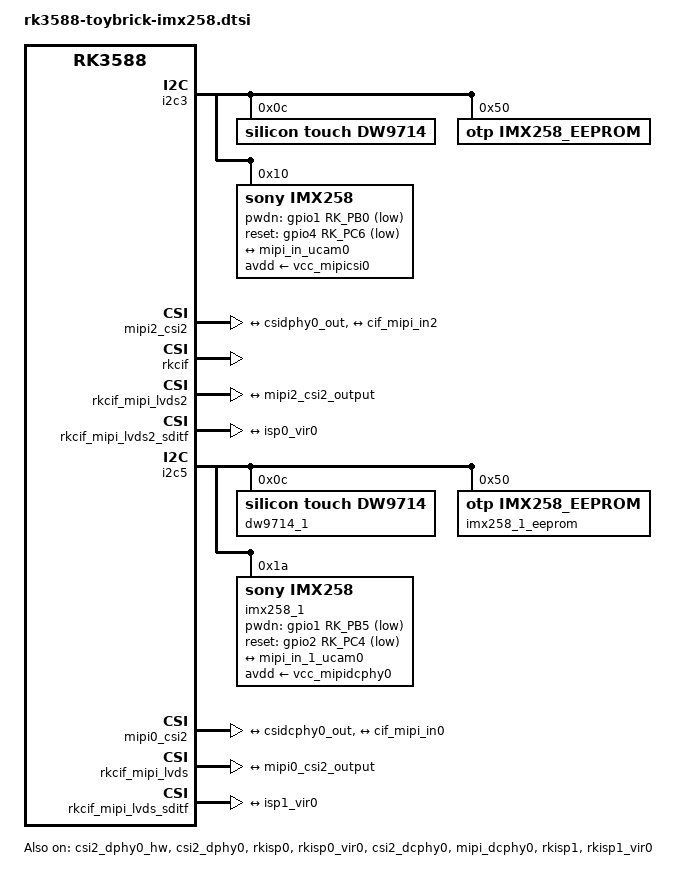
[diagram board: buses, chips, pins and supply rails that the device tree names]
// SPDX-License-Identifier: (GPL-2.0+ OR MIT)
/*
 * Copyright (c) 2021 Rockchip Electronics Co., Ltd.
 *
 */
&csi2_dphy0_hw {
	status = "okay";
};

&csi2_dphy0 {
	status = "okay";
	ports {
		#address-cells = <1>;
		#size-cells = <0>;
		port@0 {
			reg = <0>;
			#address-cells = <1>;
			#size-cells = <0>;
			mipi_in_ucam0: endpoint@1 {
				reg = <1>;
				remote-endpoint = <&ucam_out0>;
				data-lanes = <1 2 3 4>;
			};
		};
		port@1 {
			reg = <1>;
			#address-cells = <1>;
			#size-cells = <0>;
			csidphy0_out: endpoint@0 {
				reg = <0>;
				remote-endpoint = <&mipi2_csi2_input>;
			};
		};
	};
};

&i2c3 {
	status = "okay";
	dw9714: dw9714@c {
		compatible = "silicon touch,dw9714";
		status = "okay";
		reg = <0x0c>;
		rockchip,camera-module-index = <0>;
		rockchip,camera-module-facing = "back";
		rockchip,vcm-start-current = <20>;
		rockchip,vcm-rated-current = <120>;
		rockchip,vcm-step-mode = <13>;
	};

	imx258_eeprom: imx258_eeprom@50 {
		compatible = "otp,imx258_eeprom";
		status = "okay";
		reg = <0x50>;
	};

	imx258: imx258@10 {
		compatible = "sony,imx258";
		reg = <0x10>;
		clocks = <&cru CLK_MIPI_CAMARAOUT_M3>;
		clock-names = "xvclk";
		pinctrl-names = "default";
		pinctrl-0 = <&mipim0_camera3_clk>;
		power-domains = <&power RK3588_PD_VI>;
		avdd-supply = <&vcc_mipicsi0>;
		pwdn-gpios = <&gpio1 RK_PB0 GPIO_ACTIVE_LOW>;
		reset-gpios = <&gpio4 RK_PC6 GPIO_ACTIVE_LOW>;
		rockchip,camera-module-index = <0>;
		rockchip,camera-module-facing = "back";
		rockchip,camera-module-name = "GEIR180089";
		rockchip,camera-module-lens-name = "LG500627G";
		eeprom-ctrl = <&imx258_eeprom>;
		lens-focus = <&dw9714>;
		port {
			ucam_out0: endpoint {
				remote-endpoint = <&mipi_in_ucam0>;
				data-lanes = <1 2 3 4>;
			};
		};
	};
};

&mipi2_csi2 {
	status = "okay";
	ports {
		#address-cells = <1>;
		#size-cells = <0>;
		port@0 {
			reg = <0>;
			#address-cells = <1>;
			#size-cells = <0>;
			mipi2_csi2_input: endpoint@1 {
				reg = <1>;
				remote-endpoint = <&csidphy0_out>;
			};
		};
		port@1 {
			reg = <1>;
			#address-cells = <1>;
			#size-cells = <0>;
			mipi2_csi2_output: endpoint@0 {
				reg = <0>;
				remote-endpoint = <&cif_mipi_in2>;
			};
		};
	};
};

&rkcif {
	status = "okay";
};

&rkcif_mipi_lvds2 {
	status = "okay";
	port {
		cif_mipi_in2: endpoint {
			remote-endpoint = <&mipi2_csi2_output>;
		};
	};
};

&rkcif_mipi_lvds2_sditf {
	status = "okay";
	port {
		mipi_lvds_sditf: endpoint {
			remote-endpoint = <&isp0_vir0>;
		};
	};
};

&rkcif_mmu {
	status = "okay";
};

&rkisp0 {
	status = "okay";
};

&isp0_mmu {
	status = "okay";
};

&rkisp0_vir0 {
	status = "okay";
	port {
		#address-cells = <1>;
		#size-cells = <0>;
		isp0_vir0: endpoint@0 {
			reg = <0>;
			remote-endpoint = <&mipi_lvds_sditf>;
		};
	};
};

&csi2_dcphy0 {
	status = "okay";
	ports {
		#address-cells = <1>;
		#size-cells = <0>;
		port@0 {
			reg = <0>;
			#address-cells = <1>;
			#size-cells = <0>;
			mipi_in_1_ucam0: endpoint@1 {
				reg = <1>;
				remote-endpoint = <&imx258_1_out0>;
				data-lanes = <1 2 3 4>;
			};
		};
		port@1 {
			reg = <1>;
			#address-cells = <1>;
			#size-cells = <0>;
			csidcphy0_out: endpoint@0 {
				reg = <0>;
				remote-endpoint = <&mipi0_csi2_input>;
			};
		};
	};
};

&i2c5 {
	status = "okay";
	dw9714_1: dw9714_1@c {
		compatible = "silicon touch,dw9714";
		status = "okay";
		reg = <0x0c>;
		rockchip,camera-module-index = <0>;
		rockchip,camera-module-facing = "back";
		rockchip,vcm-start-current = <20>;
		rockchip,vcm-rated-current = <120>;
		rockchip,vcm-step-mode = <13>;
	};

	imx258_1_eeprom: imx258_1_eeprom@50 {
		compatible = "otp,imx258_eeprom";
		status = "okay";
		reg = <0x50>;
	};

	imx258_1: imx258_1@1a {
		compatible = "sony,imx258";
		reg = <0x1a>;
		clocks = <&cru CLK_MIPI_CAMARAOUT_M1>;
		clock-names = "xvclk";
		pinctrl-names = "default";
		pinctrl-0 = <&mipim0_camera1_clk>;
		power-domains = <&power RK3588_PD_VI>;
		avdd-supply = <&vcc_mipidcphy0>;
		pwdn-gpios = <&gpio1 RK_PB5 GPIO_ACTIVE_LOW>;
		reset-gpios = <&gpio2 RK_PC4 GPIO_ACTIVE_LOW>;
		rockchip,camera-module-index = <0>;
		rockchip,camera-module-facing = "back";
		rockchip,camera-module-name = "GEIR180089";
		rockchip,camera-module-lens-name = "LG500627G";
		eeprom-ctrl = <&imx258_1_eeprom>;
		lens-focus = <&dw9714_1>;
		port {
			imx258_1_out0: endpoint {
				remote-endpoint = <&mipi_in_1_ucam0>;
				data-lanes = <1 2 3 4>;
			};
		};
	};
};

// use dcphy0 isp1
&mipi_dcphy0 {
	status = "okay";
};

&mipi0_csi2 {
	status = "okay";
	ports {
		#address-cells = <1>;
		#size-cells = <0>;
		port@0 {
			reg = <0>;
			#address-cells = <1>;
			#size-cells = <0>;
			mipi0_csi2_input: endpoint@1 {
				reg = <1>;
				remote-endpoint = <&csidcphy0_out>;
			};
		};
		port@1 {
			reg = <1>;
			#address-cells = <1>;
			#size-cells = <0>;
			mipi0_csi2_output: endpoint@0 {
				reg = <0>;
				remote-endpoint = <&cif_mipi_in0>;
			};
		};
	};
};

&rkcif_mipi_lvds {
	status = "okay";
	port {
		cif_mipi_in0: endpoint {
			remote-endpoint = <&mipi0_csi2_output>;
		};
	};
};

#if 0

&rkcif_mipi_lvds_sditf {
	status = "okay";
	port {
		mipi_lvds_sditf_1: endpoint {
			remote-endpoint = <&isp0_vir1>;
		};
	};
};

&rkisp0_vir1 {
	status = "okay";

	port {
		#address-cells = <1>;
		#size-cells = <0>;

		isp0_vir1: endpoint@0 {
			reg = <0>;
			remote-endpoint = <&mipi_lvds_sditf_1>;
		};
	};
};

#endif

&rkisp1 {
	status = "okay";
};

&isp1_mmu {
	status = "okay";
};

&rkcif_mipi_lvds_sditf {
	status = "okay";

	port {
		mipi1_lvds_sditf: endpoint {
			remote-endpoint = <&isp1_vir0>;
		};
	};
};

&rkisp1_vir0 {
	status = "okay";

	port {
		#address-cells = <1>;
		#size-cells = <0>;

		isp1_vir0: endpoint@0 {
			reg = <0>;
			remote-endpoint = <&mipi1_lvds_sditf>;
		};
	};
};
